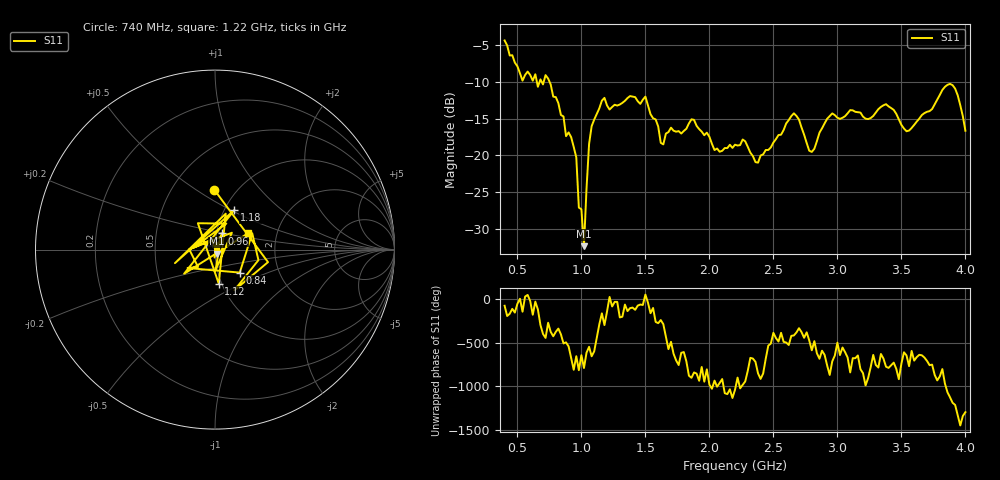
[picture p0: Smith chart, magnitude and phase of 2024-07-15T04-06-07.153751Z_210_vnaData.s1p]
!Created with skrf (http://scikit-rf.org).
# Hz S RI R 50.0
!freq ReS11 ImS11
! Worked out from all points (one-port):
!   181 points, 400 MHz to 4 GHz, reference 50 ohm
!   lowest |S11| = -32.3 dB at 1.02 GHz (marker M1), VSWR 1.05, Z = 50.9 - j2.29 ohm
!   |S11| at or under -10 dB: 652.1 MHz to 673.4 MHz (21.28 MHz wide, 3.21 % of centre); 689.8 MHz to 705.5 MHz (15.76 MHz wide, 2.26 % of centre); 751.1 MHz to end of sweep
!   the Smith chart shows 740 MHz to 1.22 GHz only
!   S11 on the Smith chart (normalised r, x): 740 MHz: 0.80, +0.60; 840 MHz: 1.27, -0.34; 960 MHz: 1.06, +0.19; 1.12 GHz: 0.97, -0.38; 1.18 GHz: 1.11, +0.52; 1.22 GHz: 1.42, +0.27
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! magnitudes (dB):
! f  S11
! 400 MHz  -4.4
! 540 MHz  -9.8
! 740 MHz  -9.6
! 840 MHz  -14.5
! 860 MHz  -14.7
! 960 MHz  -20.3
! 980 MHz  -27.1
! 1 GHz  -27.3
! 1.02 GHz  -32.3
! 1.06 GHz  -18.4
! 1.12 GHz  -14.4
! 1.18 GHz  -12.2
! 1.22 GHz  -13.8
! 1.3 GHz  -13.1
! 1.5 GHz  -12.0
! 1.64 GHz  -18.5
! 1.76 GHz  -16.7
! 1.88 GHz  -15.2
! 2.2 GHz  -18.5
! 2.38 GHz  -21.0
! 2.66 GHz  -14.3
! 2.8 GHz  -19.5
! 2.92 GHz  -15.0
! 3.1 GHz  -13.8
! 3.38 GHz  -13.0
! 3.56 GHz  -16.6
! 3.88 GHz  -10.3
! 4 GHz  -16.6
